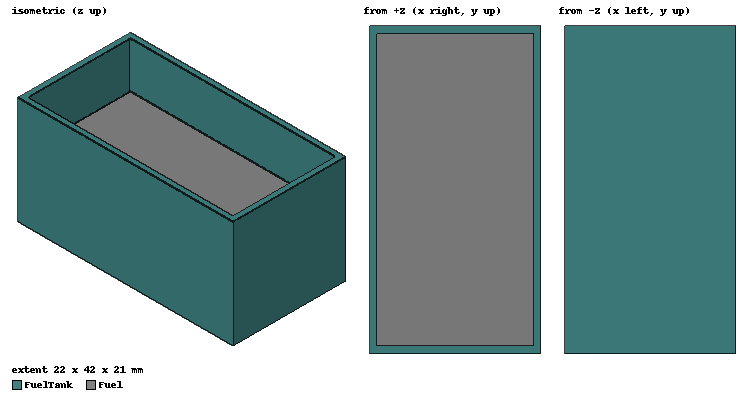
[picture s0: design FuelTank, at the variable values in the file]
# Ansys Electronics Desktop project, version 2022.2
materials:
  JetFuel: permittivity=1.7 conductivity=1e-10
  steel_stainless: conductivity=1100000
  vacuum: permittivity=1
  copper: permeability=0.999991 conductivity=58000000

design FuelTank (Maxwell 3D, Electrostatic, model units mm)
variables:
  tank_W = 20mm
  tank_L = 40mm
  tank_H = 20mm
  TankThickness = 1mm
  inclination_angle = 0deg
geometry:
  Fuel [JetFuel] = box(corner=(-tank_W/2, - tank_L/2, -0.001), size=(tank_W, tank_L, tank_H))
  FuelTank [steel_stainless] = box(corner=(-(tank_W/2) - TankThickness, - (tank_L/2) - TankThickness, - 1e-3 - TankThickness), size=(tank_W + (TankThickness*2), tank_L + (TankThickness*2), tank_H + TankThickness))
  Fuel2 = box(corner=(-tank_W/2, - tank_L/2, -0.001), size=(tank_W, tank_L, tank_H))
  FuelTank.subtract(Fuel2)
  Fuel3 = box(corner=(-tank_W/2, - tank_L/2 - 10e-3, (tank_H/2)), size=(tank_W, tank_L + 20e-3, tank_H/2 + 50e-3))
  Fuel3.rotate(axis=X, angle=inclination_angle)
  Fuel.subtract(Fuel3)
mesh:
  initial mesh: GlobalCurvilinear{Apply}
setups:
  Setup1: Electrostatic MaximumPasses=10 MinimumPasses=1 MinimumConvergedPasses=1 PercentRefinement=30 PercentError=1 NonLinearResidual=0.001
